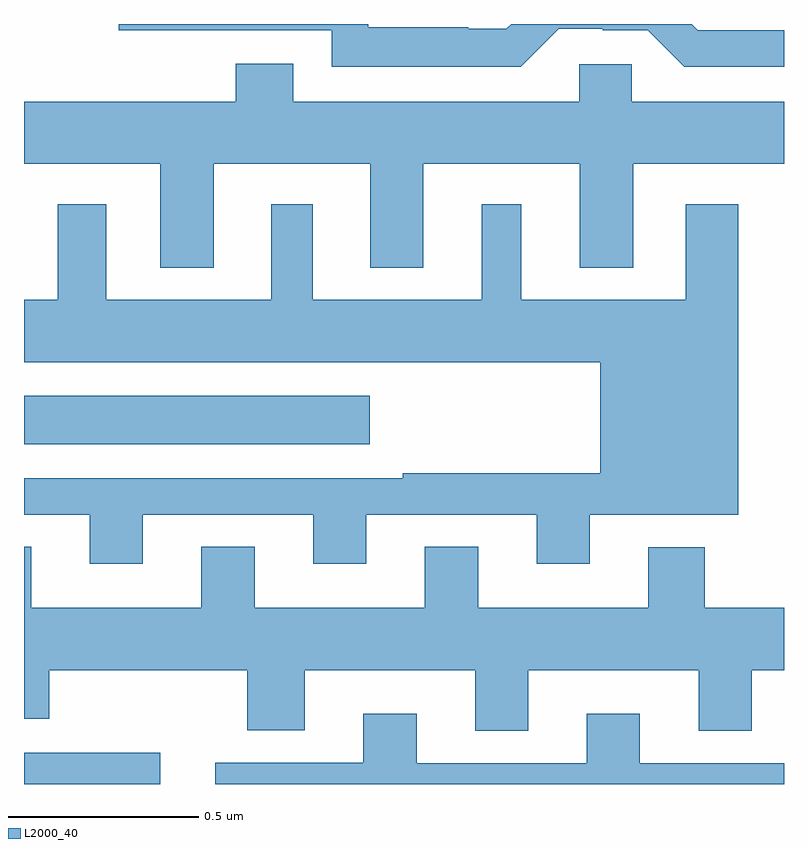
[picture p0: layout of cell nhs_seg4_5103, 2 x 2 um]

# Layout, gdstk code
import gdstk
lib = gdstk.Library(unit=1e-6, precision=1e-09)
def R(c, l, rs):  # rectangles x0, y0, x1, y1
    for r in rs: c.add(gdstk.rectangle(r[:2], r[2:], *l))
def P(c, l, *ps):  # polygons
    for p in ps: c.add(gdstk.Polygon(p, *l))
L2000_40 = (2000, 40)

nhs_seg4_5103 = lib.new_cell('nhs_seg4_5103')
R(nhs_seg4_5103, L2000_40, [(174,749.9,174.358,749.982), (174,750.794,174.91,750.922)])
P(nhs_seg4_5103, L2000_40, [(175.407,751.887),(175.523,751.887),(175.523,751.884),(175.641,751.884),(175.737,751.788),(176,751.788),(176,751.884),(175.773,751.884),(175.757,751.9),(175.282,751.9),(175.269,751.887),(175.169,751.887),(175.169,751.891),(174.906,751.891),(174.906,751.9),(174.249,751.9),(174.249,751.884),(174.81,751.884),(174.81,751.787),(175.307,751.787)],
  [(174.499,751.532),(174.911,751.532),(174.911,751.259),(175.051,751.259),(175.051,751.532),(175.463,751.532),(175.463,751.259),(175.603,751.259),(175.603,751.532),(176,751.532),(176,751.696),(175.599,751.696),(175.599,751.794),(175.461,751.794),(175.461,751.696),(174.709,751.696),(174.709,751.795),(174.557,751.795),(174.557,751.696),(174,751.696),(174,751.532),(174.359,751.532),(174.359,751.259),(174.499,751.259)],
  [(174.313,750.609),(174.761,750.609),(174.761,750.48),(174.901,750.48),(174.901,750.609),(175.349,750.609),(175.349,750.48),(175.489,750.48),(175.489,750.608),(175.879,750.608),(175.879,751.426),(175.742,751.426),(175.742,751.174),(175.309,751.174),(175.309,751.426),(175.205,751.426),(175.205,751.174),(174.76,751.174),(174.76,751.426),(174.65,751.426),(174.65,751.174),(174.217,751.174),(174.217,751.426),(174.089,751.426),(174.089,751.174),(174,751.174),(174,751.01),(175.517,751.01),(175.517,750.718),(174.997,750.718),(174.997,750.705),(174,750.705),(174,750.609),(174.173,750.609),(174.173,750.48),(174.313,750.48)],
  [(175.327,750.2),(175.775,750.2),(175.775,750.04),(175.915,750.04),(175.915,750.2),(176,750.2),(176,750.364),(175.791,750.364),(175.791,750.523),(175.643,750.523),(175.643,750.364),(175.195,750.364),(175.195,750.524),(175.055,750.524),(175.055,750.364),(174.607,750.364),(174.607,750.524),(174.467,750.524),(174.467,750.364),(174.019,750.364),(174.019,750.524),(174,750.524),(174,750.072),(174.067,750.072),(174.067,750.2),(174.587,750.2),(174.587,750.041),(174.739,750.041),(174.739,750.2),(175.187,750.2),(175.187,750.04),(175.327,750.04)],
  [(176,749.955),(175.621,749.955),(175.621,750.085),(175.481,750.085),(175.481,749.955),(175.033,749.955),(175.033,750.085),(174.893,750.085),(174.893,749.956),(174.503,749.956),(174.503,749.9),(176,749.9)])

lib.write_gds('nhs_seg4_5103.gds')
